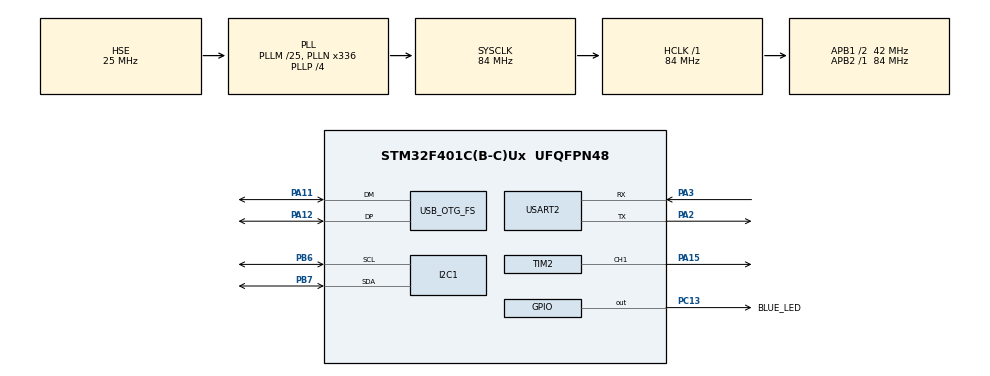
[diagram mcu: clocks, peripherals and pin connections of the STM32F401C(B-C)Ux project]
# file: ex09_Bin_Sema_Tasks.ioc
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Mcu.Family=STM32F4
Mcu.Name=STM32F401C(B-C)Ux
Mcu.Package=UFQFPN48
NVIC.OTG_FS_IRQn=true\:0\:0\:true\:false\:true\:false\:true\:true
NVIC.PriorityGroup=NVIC_PRIORITYGROUP_4
NVIC.TIM1_UP_TIM10_IRQn=true\:15\:0\:false\:false\:true\:false\:true\:true
NVIC.TimeBase=TIM1_UP_TIM10_IRQn
NVIC.TimeBaseIP=TIM1
PA11.Mode=Device_Only
PA11.Signal=USB_OTG_FS_DM
PA12.Mode=Device_Only
PA12.Signal=USB_OTG_FS_DP
PA13.Mode=Trace_Asynchronous_SW
PA13.Signal=SYS_JTMS-SWDIO
PA14.Mode=Trace_Asynchronous_SW
PA14.Signal=SYS_JTCK-SWCLK
PA15.Signal=S_TIM2_CH1_ETR
PA2.Mode=Asynchronous
PA2.Signal=USART2_TX
PA3.Mode=Asynchronous
PA3.Signal=USART2_RX
PB3.Mode=Trace_Asynchronous_SW
PB3.Signal=SYS_JTDO-SWO
PB6.Mode=I2C
PB6.Signal=I2C1_SCL
PB7.Mode=I2C
PB7.Signal=I2C1_SDA
PC13-ANTI_TAMP.GPIO_Label=BLUE_LED
PC13-ANTI_TAMP.GPIO_ModeDefaultOutputPP=GPIO_MODE_OUTPUT_OD
PC13-ANTI_TAMP.GPIO_PuPd=GPIO_NOPULL
PC13-ANTI_TAMP.PinState=GPIO_PIN_SET
PC13-ANTI_TAMP.Signal=GPIO_Output
PC14-OSC32_IN.Mode=LSE-External-Oscillator
PC14-OSC32_IN.Signal=RCC_OSC32_IN
PC15-OSC32_OUT.Mode=LSE-External-Oscillator
PC15-OSC32_OUT.Signal=RCC_OSC32_OUT
PH0\ -\ OSC_IN.Mode=HSE-External-Oscillator
PH0\ -\ OSC_IN.Signal=RCC_OSC_IN
PH1\ -\ OSC_OUT.Mode=HSE-External-Oscillator
PH1\ -\ OSC_OUT.Signal=RCC_OSC_OUT
ProjectManager.HeapSize=0x200
ProjectManager.StackSize=0x400
ProjectManager.TargetToolchain=STM32CubeIDE
RCC.48MHZClocksFreq_Value=48000000
RCC.AHBFreq_Value=84000000
RCC.APB1CLKDivider=RCC_HCLK_DIV2
RCC.APB1Freq_Value=42000000
RCC.APB1TimFreq_Value=84000000
RCC.APB2Freq_Value=84000000
RCC.APB2TimFreq_Value=84000000
RCC.CortexFreq_Value=84000000
RCC.HCLKFreq_Value=84000000
RCC.HSE_VALUE=25000000
RCC.HSI_VALUE=16000000
RCC.PLLM=25
RCC.PLLN=336
RCC.PLLP=RCC_PLLP_DIV4
RCC.PLLQ=7
RCC.SYSCLKFreq_VALUE=84000000
RCC.SYSCLKSource=RCC_SYSCLKSOURCE_PLLCLK
RCC.VCOOutputFreq_Value=336000000
RTC.HourFormat=RTC_HOURFORMAT_12
SH.S_TIM2_CH1_ETR.0=TIM2_CH1,PWM Generation1 CH1
TIM2.Channel-PWM\ Generation1\ CH1=TIM_CHANNEL_1
USART2.VirtualMode=VM_ASYNC
USB_DEVICE.CLASS_NAME_FS=CDC
USB_DEVICE.VirtualMode=Cdc
USB_DEVICE.VirtualModeFS=Cdc_FS
USB_OTG_FS.VirtualMode=Device_Only
VP_RTC_VS_RTC_Activate.Mode=RTC_Enabled
VP_SYS_VS_tim1.Mode=TIM1
VP_USB_DEVICE_VS_USB_DEVICE_CDC_FS.Mode=CDC_FS
board=custom

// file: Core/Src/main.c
/* USER CODE BEGIN Header */
/**
  ******************************************************************************
  * @file           : main.c
  * @brief          : Main program body
  ******************************************************************************
  * @attention
  *
  * Copyright (c) 2022 STMicroelectronics.
  * All rights reserved.
  *
  * This software is licensed under terms that can be found in the LICENSE file
  * in the root directory of this software component.
  * If no LICENSE file comes with this software, it is provided AS-IS.
  *
  ******************************************************************************
  */
/* USER CODE END Header */
#include "main.h"
#include "i2c.h"
#include "rtc.h"
#include "tim.h"
#include "usart.h"
#include "usb_device.h"
#include "gpio.h"

/* USER CODE BEGIN Includes */
#include "dwt_delay.h"
#include "FreeRTOS.h"
#include "task.h"
#include "queue.h"
#include "semphr.h"
#include <stdio.h>
/* USER CODE END Includes */

void SystemClock_Config(void);
/* USER CODE BEGIN PFP */
static void vManagerTask(void *pvParameters);
static void vEmployeeTask(void *pvParameters);

xQueueHandle xWork;

xQueueHandle xWorkQueue;
/* USER CODE END PFP */

int main(void)
{

  /* MCU Configuration--------------------------------------------------------*/

  /* Reset of all peripherals, Initializes the Flash interface and the Systick. */
  HAL_Init();

  /* Configure the system clock */
  SystemClock_Config();

  /* Initialize all configured peripherals */
  MX_GPIO_Init();
  MX_I2C1_Init();
  MX_TIM2_Init();
  MX_USB_DEVICE_Init();
  MX_RTC_Init();
  MX_USART2_UART_Init();
  /* USER CODE BEGIN 2 */
  vSetVarulMaxPRIGROUPValue();
  DWT_Init();
  SEGGER_UART_init(500000);
  SEGGER_SYSVIEW_Conf();

  xWork = xSemaphoreCreateBinary();

  xWorkQueue = xQueueCreate(1, sizeof(unsigned int));

  if ((xWork != NULL) && (xWorkQueue != NULL)) {
	  xTaskCreate(vManagerTask, "Manager", 500, NULL, 3, NULL);
	  xTaskCreate(vEmployeeTask, "Employee", 500, NULL, 1, NULL);
	  vTaskStartScheduler();
  }
  /* USER CODE END 2 */

  /* Infinite loop */
  while (1)
  {

  }
}

void SystemClock_Config(void)
{
  RCC_OscInitTypeDef RCC_OscInitStruct = {0};
  RCC_ClkInitTypeDef RCC_ClkInitStruct = {0};

  /** Configure the main internal regulator output voltage
  */
  __HAL_RCC_PWR_CLK_ENABLE();
  __HAL_PWR_VOLTAGESCALING_CONFIG(PWR_REGULATOR_VOLTAGE_SCALE2);

  /** Initializes the RCC Oscillators according to the specified parameters
  * in the RCC_OscInitTypeDef structure.
  */
  RCC_OscInitStruct.OscillatorType = RCC_OSCILLATORTYPE_LSI|RCC_OSCILLATORTYPE_HSE;
  RCC_OscInitStruct.HSEState = RCC_HSE_ON;
  RCC_OscInitStruct.LSIState = RCC_LSI_ON;
  RCC_OscInitStruct.PLL.PLLState = RCC_PLL_ON;
  RCC_OscInitStruct.PLL.PLLSource = RCC_PLLSOURCE_HSE;
  RCC_OscInitStruct.PLL.PLLM = 25;
  RCC_OscInitStruct.PLL.PLLN = 336;
  RCC_OscInitStruct.PLL.PLLP = RCC_PLLP_DIV4;
  RCC_OscInitStruct.PLL.PLLQ = 7;
  if (HAL_RCC_OscConfig(&RCC_OscInitStruct) != HAL_OK)
  {
    Error_Handler();
  }

  /** Initializes the CPU, AHB and APB buses clocks
  */
  RCC_ClkInitStruct.ClockType = RCC_CLOCKTYPE_HCLK|RCC_CLOCKTYPE_SYSCLK
                              |RCC_CLOCKTYPE_PCLK1|RCC_CLOCKTYPE_PCLK2;
  RCC_ClkInitStruct.SYSCLKSource = RCC_SYSCLKSOURCE_PLLCLK;
  RCC_ClkInitStruct.AHBCLKDivider = RCC_SYSCLK_DIV1;
  RCC_ClkInitStruct.APB1CLKDivider = RCC_HCLK_DIV2;
  RCC_ClkInitStruct.APB2CLKDivider = RCC_HCLK_DIV1;

  if (HAL_RCC_ClockConfig(&RCC_ClkInitStruct, FLASH_LATENCY_2) != HAL_OK)
  {
    Error_Handler();
  }
}

/* USER CODE BEGIN 4 */
static void vManagerTask(void *pvParameters)
{
	unsigned int xWorkTicketId;
	portBASE_TYPE xStatus;
	uint8_t msg[100];
	uint8_t len;

    /* The semaphore is created in the empty state. */
	xSemaphoreGive(xWork);

	while (1) {
		xWorkTicketId = rand() & 0x1FF;

		xStatus = xQueueSend(xWorkQueue, &xWorkTicketId, portMAX_DELAY);
		if (xStatus != pdPASS) {
			len = snprintf((char *)msg, 100, "Could not send to the queue.%s", "\r\n");
			HAL_UART_Transmit(&huart2, msg, len, 100);
		} else {
			xSemaphoreGive(xWork);
			taskYIELD();
		}
	}
}

void EmployeeDoWork(unsigned int TicketId)
{
	uint8_t msg[100];
	uint8_t len;

	len = snprintf((char *)msg,100, "Employee task: Working on Ticked id: %d\r\n", TicketId);
	HAL_UART_Transmit(&huart2, msg, len, 100);
	vTaskDelay(TicketId);
}

static void vEmployeeTask(void *pvParameters)
{
	unsigned int xWorkTicketId;
	portBASE_TYPE xStatus;
	uint8_t msg[100];
	uint8_t len;

	while (1) {
		xSemaphoreTake(xWork, 0);
		xStatus = xQueueReceive(xWorkQueue, &xWorkTicketId, 0);
		if (xStatus == pdPASS) {
			EmployeeDoWork(xWorkTicketId);
		} else {
			len = snprintf((char *)msg, 100, "Employee task: Queue is empty, nothing to do.%s", "\r\n");
			HAL_UART_Transmit(&huart2, msg, len, 100);
		}
	}
}
/* USER CODE END 4 */

void HAL_TIM_PeriodElapsedCallback(TIM_HandleTypeDef *htim)
{
  if (htim->Instance == TIM1) {
    HAL_IncTick();
  }
}

void Error_Handler(void)
{
  __disable_irq();
  while (1)
  {
  }
}
